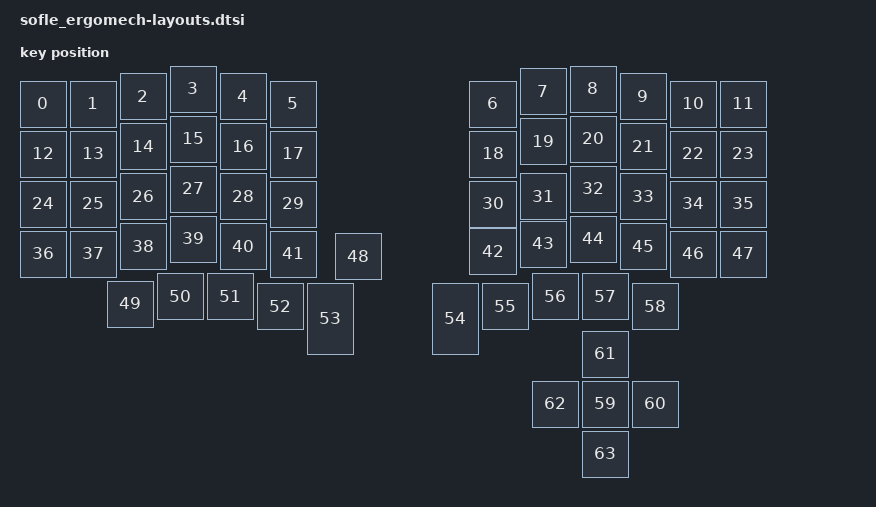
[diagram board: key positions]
#include <physical_layouts.dtsi>

/ {
    layout_0: layout_0 {
        compatible = "zmk,physical-layout";
        display-name = "LAYOUT";
        transform = <&default_transform>;
        
        keys  //                     w   h    x    y     rot    rx    ry
            = <&key_physical_attrs 100 100    0   30       0     0     0>
            , <&key_physical_attrs 100 100  100   30       0     0     0>
            , <&key_physical_attrs 100 100  200   15       0     0     0>
            , <&key_physical_attrs 100 100  300    0       0     0     0>
            , <&key_physical_attrs 100 100  400   15       0     0     0>
            , <&key_physical_attrs 100 100  500   30       0     0     0>
            , <&key_physical_attrs 100 100  900   30       0     0     0>
            , <&key_physical_attrs 100 100 1000    5       0     0     0>
            , <&key_physical_attrs 100 100 1100    0       0     0     0>
            , <&key_physical_attrs 100 100 1200   15       0     0     0>
            , <&key_physical_attrs 100 100 1300   30       0     0     0>
            , <&key_physical_attrs 100 100 1400   30       0     0     0>
            , <&key_physical_attrs 100 100    0  130       0     0     0>
            , <&key_physical_attrs 100 100  100  130       0     0     0>
            , <&key_physical_attrs 100 100  200  115       0     0     0>
            , <&key_physical_attrs 100 100  300  100       0     0     0>
            , <&key_physical_attrs 100 100  400  115       0     0     0>
            , <&key_physical_attrs 100 100  500  130       0     0     0>
            , <&key_physical_attrs 100 100  900  130       0     0     0>
            , <&key_physical_attrs 100 100 1000  105       0     0     0>
            , <&key_physical_attrs 100 100 1100  100       0     0     0>
            , <&key_physical_attrs 100 100 1200  115       0     0     0>
            , <&key_physical_attrs 100 100 1300  130       0     0     0>
            , <&key_physical_attrs 100 100 1400  130       0     0     0>
            , <&key_physical_attrs 100 100    0  230       0     0     0>
            , <&key_physical_attrs 100 100  100  230       0     0     0>
            , <&key_physical_attrs 100 100  200  215       0     0     0>
            , <&key_physical_attrs 100 100  300  200       0     0     0>
            , <&key_physical_attrs 100 100  400  215       0     0     0>
            , <&key_physical_attrs 100 100  500  230       0     0     0>
            , <&key_physical_attrs 100 100  900  230       0     0     0>
            , <&key_physical_attrs 100 100 1000  215       0     0     0>
            , <&key_physical_attrs 100 100 1100  200       0     0     0>
            , <&key_physical_attrs 100 100 1200  215       0     0     0>
            , <&key_physical_attrs 100 100 1300  230       0     0     0>
            , <&key_physical_attrs 100 100 1400  230       0     0     0>
            , <&key_physical_attrs 100 100    0  330       0     0     0>
            , <&key_physical_attrs 100 100  100  330       0     0     0>
            , <&key_physical_attrs 100 100  200  315       0     0     0>
            , <&key_physical_attrs 100 100  300  300       0     0     0>
            , <&key_physical_attrs 100 100  400  315       0     0     0>
            , <&key_physical_attrs 100 100  500  330       0     0     0>
            , <&key_physical_attrs 100 100  900  325       0     0     0>
            , <&key_physical_attrs 100 100 1000  310       0     0     0>
            , <&key_physical_attrs 100 100 1100  300       0     0     0>
            , <&key_physical_attrs 100 100 1200  315       0     0     0>
            , <&key_physical_attrs 100 100 1300  330       0     0     0>
            , <&key_physical_attrs 100 100 1400  330       0     0     0>
            , <&key_physical_attrs 100 100  630  335       0     0     0>
            , <&key_physical_attrs 100 100  175  430       0     0     0>
            , <&key_physical_attrs 100 100  275  415       0     0     0>
            , <&key_physical_attrs 100 100  375  415       0     0     0>
            , <&key_physical_attrs 100 100  475  435       0     0     0>
            , <&key_physical_attrs 100 150  575  435       0     0     0>
            , <&key_physical_attrs 100 150  825  435       0     0     0>
            , <&key_physical_attrs 100 100  925  435       0     0     0>
            , <&key_physical_attrs 100 100 1025  415       0     0     0>
            , <&key_physical_attrs 100 100 1125  415       0     0     0>
            , <&key_physical_attrs 100 100 1225  435       0     0     0>
            , <&key_physical_attrs 100 100 1125  630       0     0     0>
            , <&key_physical_attrs 100 100 1225  630       0     0     0>
            , <&key_physical_attrs 100 100 1125  530       0     0     0>
            , <&key_physical_attrs 100 100 1025  630       0     0     0>
            , <&key_physical_attrs 100 100 1125  730       0     0     0>
            ;
    };

    position_map {
        compatible = "zmk,physical-layout-position-map";

        layout_0 {
            physical-layout = <&layout_0>;
            positions = <>;
        };
    };
};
